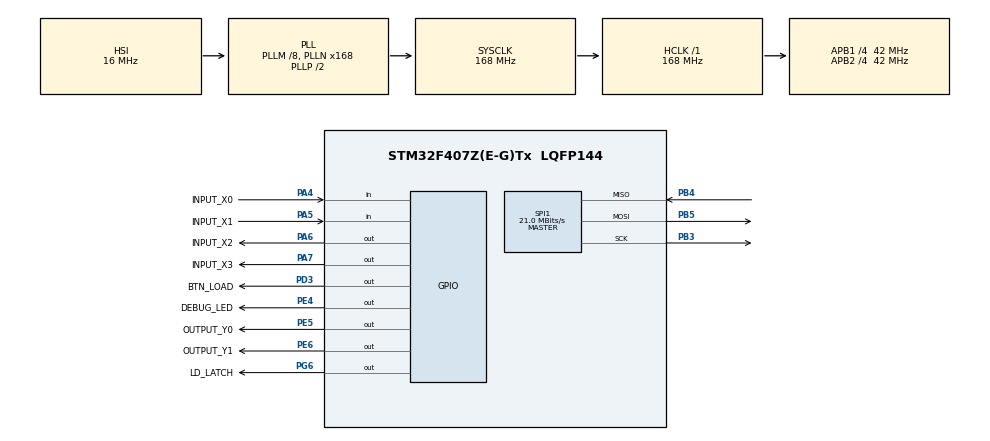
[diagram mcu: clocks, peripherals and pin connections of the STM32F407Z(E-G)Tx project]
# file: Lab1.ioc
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Mcu.Family=STM32F4
Mcu.Name=STM32F407Z(E-G)Tx
Mcu.Package=LQFP144
NVIC.PriorityGroup=NVIC_PRIORITYGROUP_4
PA13.Mode=Serial_Wire
PA13.Signal=SYS_JTMS-SWDIO
PA14.Mode=Serial_Wire
PA14.Signal=SYS_JTCK-SWCLK
PA4.GPIO_Label=INPUT_X0
PA4.Signal=GPIO_Input
PA5.GPIO_Label=INPUT_X1
PA5.Signal=GPIO_Input
PA6.GPIO_Label=INPUT_X2
PA6.Signal=GPIO_Output
PA7.GPIO_Label=INPUT_X3
PA7.Signal=GPIO_Output
PB3.Mode=Full_Duplex_Master
PB3.Signal=SPI1_SCK
PB4.Mode=Full_Duplex_Master
PB4.Signal=SPI1_MISO
PB5.Mode=Full_Duplex_Master
PB5.Signal=SPI1_MOSI
PD3.GPIO_Label=BTN_LOAD
PD3.Signal=GPIO_Output
PE4.GPIO_Label=DEBUG_LED
PE4.Signal=GPIO_Output
PE5.GPIO_Label=OUTPUT_Y0
PE5.Signal=GPIO_Output
PE6.GPIO_Label=OUTPUT_Y1
PE6.Signal=GPIO_Output
PG6.GPIO_Label=LD_LATCH
PG6.Signal=GPIO_Output
PH0-OSC_IN.Mode=HSE-External-Oscillator
PH0-OSC_IN.Signal=RCC_OSC_IN
PH1-OSC_OUT.Mode=HSE-External-Oscillator
PH1-OSC_OUT.Signal=RCC_OSC_OUT
ProjectManager.HeapSize=0x200
ProjectManager.StackSize=0x400
ProjectManager.TargetToolchain=STM32CubeIDE
RCC.48MHZClocksFreq_Value=84000000
RCC.AHBFreq_Value=168000000
RCC.APB1CLKDivider=RCC_HCLK_DIV4
RCC.APB1Freq_Value=42000000
RCC.APB1TimFreq_Value=84000000
RCC.APB2CLKDivider=RCC_HCLK_DIV4
RCC.APB2Freq_Value=42000000
RCC.APB2TimFreq_Value=84000000
RCC.CortexFreq_Value=168000000
RCC.HCLKFreq_Value=168000000
RCC.HSE_VALUE=8000000
RCC.HSI_VALUE=16000000
RCC.LSE_VALUE=32768
RCC.PLLM=8
RCC.PLLN=168
RCC.SYSCLKFreq_VALUE=168000000
RCC.SYSCLKSource=RCC_SYSCLKSOURCE_PLLCLK
RCC.VCOOutputFreq_Value=336000000
SPI1.CalculateBaudRate=21.0 MBits/s
SPI1.Direction=SPI_DIRECTION_2LINES
SPI1.Mode=SPI_MODE_MASTER
SPI1.VirtualType=VM_MASTER
board=custom

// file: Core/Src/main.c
/* USER CODE BEGIN Header */
/**
  ******************************************************************************
  * @file           : main.c
  * @brief          : Main program body
  ******************************************************************************
  * @attention
  *
  * <h2><center>&copy; Copyright (c) 2025 STMicroelectronics.
  * All rights reserved.</center></h2>
  *
  * This software component is licensed by ST under BSD 3-Clause license,
  * the "License"; You may not use this file except in compliance with the
  * License. You may obtain a copy of the License at:
  *                        opensource.org/licenses/BSD-3-Clause
  *
  ******************************************************************************
  */
/* USER CODE END Header */
#include "main.h"

/* USER CODE BEGIN Includes */
#include "ex1_lab2.h"
#include "ex2_lab2.h"
#include "ex3_lab2.h"
#include "ex4_lab2.h"
#include "ex5_lab2.h"
#include "ex1_lab1.h"
#include "ex2_lab1.h"
#include "ex3_lab1.h"
/* USER CODE END Includes */

SPI_HandleTypeDef hspi1;

/* USER CODE BEGIN PV */
#define EXERCISE 8

/* USER CODE END PV */

void SystemClock_Config(void);
static void MX_GPIO_Init(void);
static void MX_SPI1_Init(void);

int main(void)
{

  /* MCU Configuration--------------------------------------------------------*/

  /* Reset of all peripherals, Initializes the Flash interface and the Systick. */
  HAL_Init();

  /* Configure the system clock */
  SystemClock_Config();

  /* Initialize all configured peripherals */
  MX_GPIO_Init();
  MX_SPI1_Init();
  /* USER CODE BEGIN 2 */
  // Khởi tạo bài tập được ch�?n
  #if (EXERCISE == 1)
    ex1_lab2_init();
  #elif (EXERCISE == 2)
    ex2_lab2_init();
  #elif (EXERCISE == 3)
    ex3_lab2_init();
  #elif (EXERCISE == 4)
    ex4_lab2_init();
  #elif (EXERCISE == 5)
    ex5_lab2_init();
  #endif
  /* USER CODE END 2 */

  /* Infinite loop */
  while (1)
  {

    /* USER CODE BEGIN 3 */
    // Chạy logic chính của bài tập được ch�?n
    #if (EXERCISE == 1)
      ex1_lab2_run();
    #elif (EXERCISE == 2)
      ex2_lab2_run();
    #elif (EXERCISE == 3)
      ex3_lab2_run();
    #elif (EXERCISE == 4)
      ex4_lab2_run();
    #elif (EXERCISE == 5)
      ex5_lab2_run();
	#elif (EXERCISE == 6)
      ex1_lab1_task();
	#elif (EXERCISE == 7)
      ex2_lab1_task();
      HAL_Delay(1000);
	#elif (EXERCISE == 8)
      ex3_lab1_task();
    #endif
  }
  /* USER CODE END 3 */
}

void SystemClock_Config(void)
{
  RCC_OscInitTypeDef RCC_OscInitStruct = {0};
  RCC_ClkInitTypeDef RCC_ClkInitStruct = {0};

  /** Configure the main internal regulator output voltage
  */
  __HAL_RCC_PWR_CLK_ENABLE();
  __HAL_PWR_VOLTAGESCALING_CONFIG(PWR_REGULATOR_VOLTAGE_SCALE1);
  /** Initializes the RCC Oscillators according to the specified parameters
  * in the RCC_OscInitTypeDef structure.
  */
  RCC_OscInitStruct.OscillatorType = RCC_OSCILLATORTYPE_HSI;
  RCC_OscInitStruct.HSIState = RCC_HSI_ON;
  RCC_OscInitStruct.HSICalibrationValue = RCC_HSICALIBRATION_DEFAULT;
  RCC_OscInitStruct.PLL.PLLState = RCC_PLL_ON;
  RCC_OscInitStruct.PLL.PLLSource = RCC_PLLSOURCE_HSI;
  RCC_OscInitStruct.PLL.PLLM = 8;
  RCC_OscInitStruct.PLL.PLLN = 168;
  RCC_OscInitStruct.PLL.PLLP = RCC_PLLP_DIV2;
  RCC_OscInitStruct.PLL.PLLQ = 4;
  if (HAL_RCC_OscConfig(&RCC_OscInitStruct) != HAL_OK)
  {
    Error_Handler();
  }
  /** Initializes the CPU, AHB and APB buses clocks
  */
  RCC_ClkInitStruct.ClockType = RCC_CLOCKTYPE_HCLK|RCC_CLOCKTYPE_SYSCLK
                              |RCC_CLOCKTYPE_PCLK1|RCC_CLOCKTYPE_PCLK2;
  RCC_ClkInitStruct.SYSCLKSource = RCC_SYSCLKSOURCE_PLLCLK;
  RCC_ClkInitStruct.AHBCLKDivider = RCC_SYSCLK_DIV1;
  RCC_ClkInitStruct.APB1CLKDivider = RCC_HCLK_DIV4;
  RCC_ClkInitStruct.APB2CLKDivider = RCC_HCLK_DIV4;

  if (HAL_RCC_ClockConfig(&RCC_ClkInitStruct, FLASH_LATENCY_5) != HAL_OK)
  {
    Error_Handler();
  }
}

static void MX_SPI1_Init(void)
{

  /* SPI1 parameter configuration*/
  hspi1.Instance = SPI1;
  hspi1.Init.Mode = SPI_MODE_MASTER;
  hspi1.Init.Direction = SPI_DIRECTION_2LINES;
  hspi1.Init.DataSize = SPI_DATASIZE_8BIT;
  hspi1.Init.CLKPolarity = SPI_POLARITY_LOW;
  hspi1.Init.CLKPhase = SPI_PHASE_1EDGE;
  hspi1.Init.NSS = SPI_NSS_SOFT;
  hspi1.Init.BaudRatePrescaler = SPI_BAUDRATEPRESCALER_2;
  hspi1.Init.FirstBit = SPI_FIRSTBIT_MSB;
  hspi1.Init.TIMode = SPI_TIMODE_DISABLE;
  hspi1.Init.CRCCalculation = SPI_CRCCALCULATION_DISABLE;
  hspi1.Init.CRCPolynomial = 10;
  if (HAL_SPI_Init(&hspi1) != HAL_OK)
  {
    Error_Handler();
  }

}

static void MX_GPIO_Init(void)
{
  GPIO_InitTypeDef GPIO_InitStruct = {0};

  /* GPIO Ports Clock Enable */
  __HAL_RCC_GPIOE_CLK_ENABLE();
  __HAL_RCC_GPIOH_CLK_ENABLE();
  __HAL_RCC_GPIOA_CLK_ENABLE();
  __HAL_RCC_GPIOG_CLK_ENABLE();
  __HAL_RCC_GPIOD_CLK_ENABLE();
  __HAL_RCC_GPIOB_CLK_ENABLE();

  /*Configure GPIO pin Output Level */
  HAL_GPIO_WritePin(GPIOE, DEBUG_LED_Pin|OUTPUT_Y0_Pin|OUTPUT_Y1_Pin, GPIO_PIN_RESET);

  /*Configure GPIO pin Output Level */
  HAL_GPIO_WritePin(GPIOA, INPUT_X2_Pin|INPUT_X3_Pin, GPIO_PIN_RESET);

  /*Configure GPIO pin Output Level */
  HAL_GPIO_WritePin(LD_LATCH_GPIO_Port, LD_LATCH_Pin, GPIO_PIN_RESET);

  /*Configure GPIO pin Output Level */
  HAL_GPIO_WritePin(BTN_LOAD_GPIO_Port, BTN_LOAD_Pin, GPIO_PIN_RESET);

  /*Configure GPIO pins : DEBUG_LED_Pin OUTPUT_Y0_Pin OUTPUT_Y1_Pin */
  GPIO_InitStruct.Pin = DEBUG_LED_Pin|OUTPUT_Y0_Pin|OUTPUT_Y1_Pin;
  GPIO_InitStruct.Mode = GPIO_MODE_OUTPUT_PP;
  GPIO_InitStruct.Pull = GPIO_NOPULL;
  GPIO_InitStruct.Speed = GPIO_SPEED_FREQ_LOW;
  HAL_GPIO_Init(GPIOE, &GPIO_InitStruct);

  /*Configure GPIO pins : INPUT_X0_Pin INPUT_X1_Pin */
  GPIO_InitStruct.Pin = INPUT_X0_Pin|INPUT_X1_Pin;
  GPIO_InitStruct.Mode = GPIO_MODE_INPUT;
  GPIO_InitStruct.Pull = GPIO_NOPULL;
  HAL_GPIO_Init(GPIOA, &GPIO_InitStruct);

  /*Configure GPIO pins : INPUT_X2_Pin INPUT_X3_Pin */
  GPIO_InitStruct.Pin = INPUT_X2_Pin|INPUT_X3_Pin;
  GPIO_InitStruct.Mode = GPIO_MODE_OUTPUT_PP;
  GPIO_InitStruct.Pull = GPIO_NOPULL;
  GPIO_InitStruct.Speed = GPIO_SPEED_FREQ_LOW;
  HAL_GPIO_Init(GPIOA, &GPIO_InitStruct);

  /*Configure GPIO pin : LD_LATCH_Pin */
  GPIO_InitStruct.Pin = LD_LATCH_Pin;
  GPIO_InitStruct.Mode = GPIO_MODE_OUTPUT_PP;
  GPIO_InitStruct.Pull = GPIO_NOPULL;
  GPIO_InitStruct.Speed = GPIO_SPEED_FREQ_LOW;
  HAL_GPIO_Init(LD_LATCH_GPIO_Port, &GPIO_InitStruct);

  /*Configure GPIO pin : BTN_LOAD_Pin */
  GPIO_InitStruct.Pin = BTN_LOAD_Pin;
  GPIO_InitStruct.Mode = GPIO_MODE_OUTPUT_PP;
  GPIO_InitStruct.Pull = GPIO_NOPULL;
  GPIO_InitStruct.Speed = GPIO_SPEED_FREQ_LOW;
  HAL_GPIO_Init(BTN_LOAD_GPIO_Port, &GPIO_InitStruct);

}

/* USER CODE BEGIN 4 */

// Timer callback - g�?i task() của exercise đang ch�?n
/*void HAL_TIM_PeriodElapsedCallback(TIM_HandleTypeDef *htim) {
	if (htim->Instance == TIM2) {
		#if (EXERCISE == 1)
			ex1_lab2_task();
		#elif (EXERCISE == 2)
			ex2_lab2_task();
		#elif (EXERCISE == 3)
			ex3_lab2_task();
		#elif (EXERCISE == 4)
			ex4_lab2_task();
		#elif (EXERCISE == 5)
			ex5_lab2_task();
		#endif
	}
}
*/

/* USER CODE END 4 */

void Error_Handler(void)
{
  __disable_irq();
  while (1)
  {
  }
}

/************************ (C) COPYRIGHT STMicroelectronics *****END OF FILE****/
